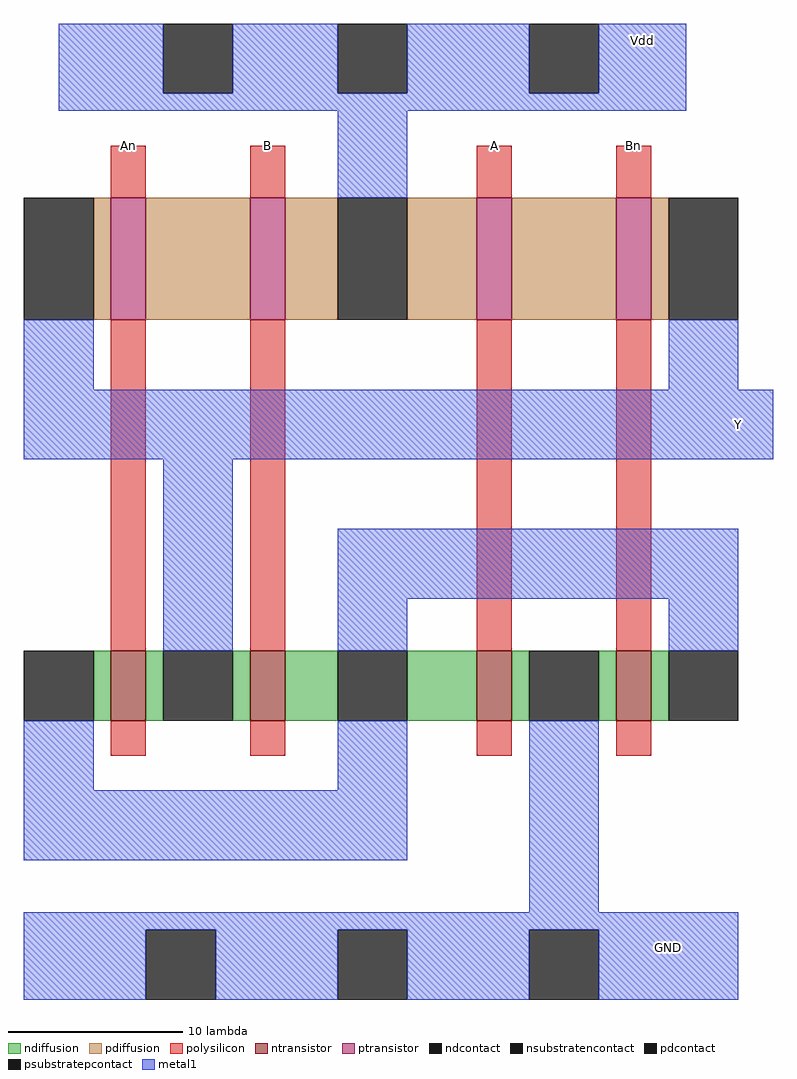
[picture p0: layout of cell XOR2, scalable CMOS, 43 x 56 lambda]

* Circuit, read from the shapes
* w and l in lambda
.subckt XOR2 A An B Bn GND Vdd Y
M1 Y An n1 GND nfet w=4 l=2
M2 n1 B Y GND nfet w=4 l=2
M3 GND A n1 GND nfet w=4 l=2
M4 n1 Bn GND GND nfet w=4 l=2
M5 n2 An Y Vdd pfet w=7 l=2
M6 Vdd B n2 Vdd pfet w=7 l=2
M7 n3 A Vdd Vdd pfet w=7 l=2
M8 Y Bn n3 Vdd pfet w=7 l=2
.ends

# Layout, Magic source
magic
tech scmos
<< polysilicon >>
rect -28 1 -26 4
rect -20 1 -18 4
rect -7 1 -5 4
rect 1 1 3 4
rect -28 -25 -26 -6
rect -20 -25 -18 -6
rect -7 -25 -5 -6
rect 1 -25 3 -6
rect -28 -31 -26 -29
rect -20 -31 -18 -29
rect -7 -31 -5 -29
rect 1 -31 3 -29
<< ndiffusion >>
rect -29 -29 -28 -25
rect -26 -29 -25 -25
rect -21 -29 -20 -25
rect -18 -29 -15 -25
rect -11 -29 -7 -25
rect -5 -29 -4 -25
rect 0 -29 1 -25
rect 3 -29 4 -25
<< pdiffusion >>
rect -29 -6 -28 1
rect -26 -6 -20 1
rect -18 -6 -15 1
rect -11 -6 -7 1
rect -5 -6 1 1
rect 3 -6 4 1
<< metal1 >>
rect -31 7 -25 11
rect -21 7 -15 11
rect -11 7 -4 11
rect 0 7 5 11
rect -31 6 5 7
rect -15 1 -11 6
rect -33 -10 -29 -6
rect 4 -10 8 -6
rect -33 -14 10 -10
rect -25 -25 -21 -14
rect -15 -22 8 -18
rect -15 -25 -11 -22
rect 4 -25 8 -22
rect -33 -33 -29 -29
rect -15 -33 -11 -29
rect -33 -37 -11 -33
rect -4 -40 0 -29
rect -33 -41 8 -40
rect -33 -45 -26 -41
rect -22 -45 -15 -41
rect -11 -45 -4 -41
rect 0 -45 8 -41
<< ntransistor >>
rect -28 -29 -26 -25
rect -20 -29 -18 -25
rect -7 -29 -5 -25
rect 1 -29 3 -25
<< ptransistor >>
rect -28 -6 -26 1
rect -20 -6 -18 1
rect -7 -6 -5 1
rect 1 -6 3 1
<< ndcontact >>
rect -33 -29 -29 -25
rect -25 -29 -21 -25
rect -15 -29 -11 -25
rect -4 -29 0 -25
rect 4 -29 8 -25
<< pdcontact >>
rect -33 -6 -29 1
rect -15 -6 -11 1
rect 4 -6 8 1
<< psubstratepcontact >>
rect -26 -45 -22 -41
rect -15 -45 -11 -41
rect -4 -45 0 -41
<< nsubstratencontact >>
rect -25 7 -21 11
rect -15 7 -11 11
rect -4 7 0 11
<< labels >>
rlabel polysilicon -20 4 -18 4 1 B
rlabel polysilicon -7 4 -5 4 1 A
rlabel polysilicon 1 4 3 4 1 Bn
rlabel metal1 8 -13 8 -11 7 Y
rlabel polysilicon -28 4 -26 4 1 An
rlabel metal1 4 -43 4 -41 1 GND
rlabel metal1 2 10 3 10 5 Vdd
<< end >>
